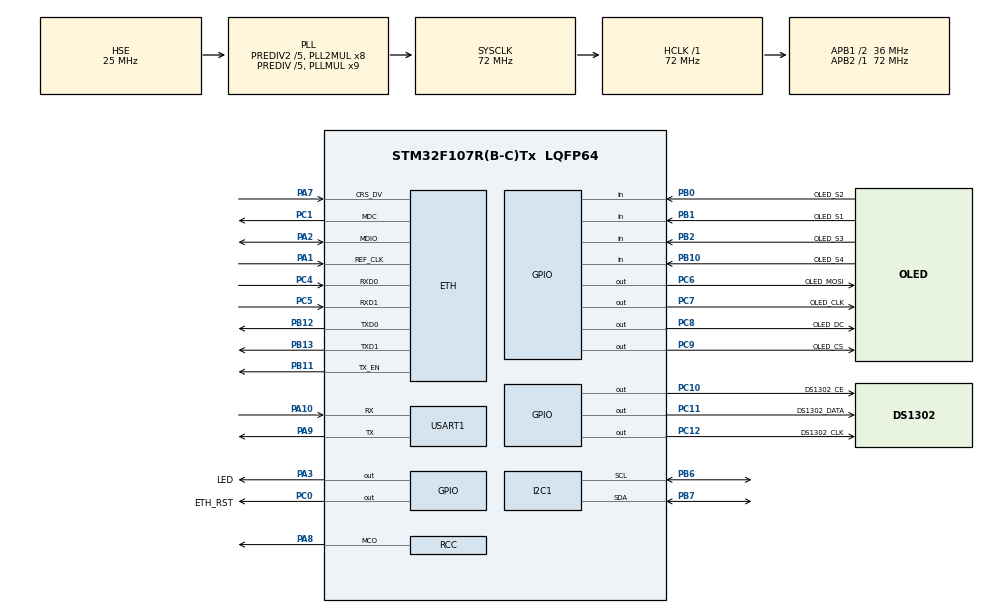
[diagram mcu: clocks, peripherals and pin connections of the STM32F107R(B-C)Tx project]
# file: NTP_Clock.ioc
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ETH.MediaInterface=ETH_MEDIA_INTERFACE_RMII
IWDG.Prescaler=IWDG_PRESCALER_256
IWDG.Reload=1000
LWIP.GATEWAY_ADDRESS=192.168.001.001
LWIP.IP_ADDRESS=192.168.001.103
LWIP.LWIP_DHCP=0
LWIP.NETMASK_ADDRESS=255.255.255.000
LWIP.TCP_QUEUE_OOSEQ=0
LWIP.Version=v2.0.3_Cube
Mcu.Family=STM32F1
Mcu.Name=STM32F107R(B-C)Tx
Mcu.Package=LQFP64
NVIC.PriorityGroup=NVIC_PRIORITYGROUP_4
PA1.Mode=RMII
PA1.Signal=ETH_REF_CLK
PA10.Mode=Asynchronous
PA10.Signal=USART1_RX
PA2.Mode=RMII
PA2.Signal=ETH_MDIO
PA3.GPIO_Label=LED
PA3.GPIO_PuPd=GPIO_PULLUP
PA3.GPIO_Speed=GPIO_SPEED_FREQ_HIGH
PA3.PinState=GPIO_PIN_SET
PA3.Signal=GPIO_Output
PA7.Mode=RMII
PA7.Signal=ETH_CRS_DV
PA8.Mode=Clock-out
PA8.Signal=RCC_MCO
PA9.Mode=Asynchronous
PA9.Signal=USART1_TX
PB0.GPIO_Label=OLED_S2
PB0.GPIO_PuPd=GPIO_PULLUP
PB0.Signal=GPIO_Input
PB1.GPIO_Label=OLED_S1
PB1.GPIO_PuPd=GPIO_PULLUP
PB1.Signal=GPIO_Input
PB10.GPIO_Label=OLED_S4
PB10.GPIO_PuPd=GPIO_PULLUP
PB10.Signal=GPIO_Input
PB11.Mode=RMII
PB11.Signal=ETH_TX_EN
PB12.Mode=RMII
PB12.Signal=ETH_TXD0
PB13.Mode=RMII
PB13.Signal=ETH_TXD1
PB2.GPIO_Label=OLED_S3
PB2.GPIO_PuPd=GPIO_PULLUP
PB2.Signal=GPIO_Input
PB6.Mode=I2C
PB6.Signal=I2C1_SCL
PB7.Mode=I2C
PB7.Signal=I2C1_SDA
PC0.GPIO_Label=ETH_RST
PC0.GPIO_ModeDefaultOutputPP=GPIO_MODE_OUTPUT_PP
PC0.GPIO_Speed=GPIO_SPEED_FREQ_LOW
PC0.PinState=GPIO_PIN_SET
PC0.Signal=GPIO_Output
PC1.Mode=RMII
PC1.Signal=ETH_MDC
PC10.GPIO_Label=DS1302_CE
PC10.GPIO_Speed=GPIO_SPEED_FREQ_HIGH
PC10.PinState=GPIO_PIN_RESET
PC10.Signal=GPIO_Output
PC11.GPIO_Label=DS1302_DATA
PC11.GPIO_Speed=GPIO_SPEED_FREQ_HIGH
PC11.Signal=GPIO_Output
PC12.GPIO_Label=DS1302_CLK
PC12.GPIO_Speed=GPIO_SPEED_FREQ_HIGH
PC12.Signal=GPIO_Output
PC4.Mode=RMII
PC4.Signal=ETH_RXD0
PC5.Mode=RMII
PC5.Signal=ETH_RXD1
PC6.GPIO_Label=OLED_MOSI
PC6.GPIO_PuPd=GPIO_PULLUP
PC6.GPIO_Speed=GPIO_SPEED_FREQ_HIGH
PC6.PinState=GPIO_PIN_SET
PC6.Signal=GPIO_Output
PC7.GPIO_Label=OLED_CLK
PC7.GPIO_PuPd=GPIO_PULLUP
PC7.GPIO_Speed=GPIO_SPEED_FREQ_HIGH
PC7.PinState=GPIO_PIN_SET
PC7.Signal=GPIO_Output
PC8.GPIO_Label=OLED_DC
PC8.GPIO_PuPd=GPIO_PULLUP
PC8.GPIO_Speed=GPIO_SPEED_FREQ_HIGH
PC8.PinState=GPIO_PIN_SET
PC8.Signal=GPIO_Output
PC9.GPIO_Label=OLED_CS
PC9.GPIO_PuPd=GPIO_PULLUP
PC9.GPIO_Speed=GPIO_SPEED_FREQ_HIGH
PC9.PinState=GPIO_PIN_SET
PC9.Signal=GPIO_Output
PD0-OSC_IN.Mode=HSE-External-Oscillator
PD0-OSC_IN.Signal=RCC_OSC_IN
PD1-OSC_OUT.Mode=HSE-External-Oscillator
PD1-OSC_OUT.Signal=RCC_OSC_OUT
ProjectManager.HeapSize=0x200
ProjectManager.StackSize=0x400
ProjectManager.TargetToolchain=MDK-ARM V5.32
RCC.AHBFreq_Value=72000000
RCC.APB1CLKDivider=RCC_HCLK_DIV2
RCC.APB1Freq_Value=36000000
RCC.APB1TimFreq_Value=72000000
RCC.APB2Freq_Value=72000000
RCC.APB2TimFreq_Value=72000000
RCC.HCLKFreq_Value=72000000
RCC.HSEDivPLL=RCC_HSE_PREDIV_DIV5
RCC.HSE_VALUE=25000000
RCC.PLLMUL=RCC_PLL_MUL9
RCC.PLLSourceVirtual=RCC_PLLSOURCE_HSE
RCC.Prediv1Source=RCC_PREDIV1_SOURCE_PLL2
RCC.Prediv2=RCC_HSE_PREDIV2_DIV5
RCC.RCC_MCOSource=RCC_MCO1SOURCE_HSE
RCC.SYSCLKFreq_VALUE=72000000
RCC.SYSCLKSource=RCC_SYSCLKSOURCE_PLLCLK
RCC.USBFreq_Value=48000000
USART1.VirtualMode=VM_ASYNC
VP_IWDG_VS_IWDG.Mode=IWDG_Activate
VP_LWIP_VS_Enabled.Mode=Enabled
VP_SYS_VS_ND.Mode=No_Debug
board=custom

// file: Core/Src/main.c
/* USER CODE BEGIN Header */
/**
 ******************************************************************************
 * @file           : main.c
 * @brief          : Main program body
 ******************************************************************************
 * @attention
 *
 * Copyright (c) 2023 STMicroelectronics.
 * All rights reserved.
 *
 * This software is licensed under terms that can be found in the LICENSE file
 * in the root directory of this software component.
 * If no LICENSE file comes with this software, it is provided AS-IS.
 *
 ******************************************************************************
 */
/* USER CODE END Header */
#include "main.h"
#include "i2c.h"
#include "iwdg.h"
#include "lwip.h"
#include "usart.h"
#include "gpio.h"

/* USER CODE BEGIN Includes */
#include <stdio.h>
#include "BSP_UDP.h"
#include "AT24CXX.h"
#include "BSP_74HC245.h"
#include "BSP_DS1302.h"
#include "clock.h"
#include "BSP_SHT2X.h"
#include "oled.h"
/* USER CODE END Includes */

void SystemClock_Config(void);

/* USER CODE BEGIN 0 */
uint8_t lastSecond;
uint8_t cnt_timing;
uint8_t cnt_seconds;

extern DS1302_Time_t TimeData;
typedef struct
{
    uint8_t year;   /* 年 */
    uint8_t month;  /* 月 */
    uint8_t day;    /* 日 */
    uint8_t week;   /* 星期 */
    uint8_t hour;   /* 时 */
    uint8_t minute; /* 分 */
    uint8_t second; /* 秒 */
    uint8_t temper;
    uint8_t humid;
} Screen_t;

Screen_t screen_data;
/* USER CODE END 0 */

int main(void)
{
    /* USER CODE BEGIN 1 */
    float temper = 0, humid = 0;
    uint8_t temper_t = 0, humid_t = 0;
    uint8_t sendbuf[200];
    /* USER CODE END 1 */

    /* MCU Configuration--------------------------------------------------------*/

    /* Reset of all peripherals, Initializes the Flash interface and the Systick. */
    HAL_Init();

    /* Configure the system clock */
    SystemClock_Config();

    /* Initialize all configured peripherals */
    MX_GPIO_Init();
    MX_USART1_UART_Init();
    MX_LWIP_Init();
    MX_IWDG_Init();
    MX_I2C1_Init();
    /* USER CODE BEGIN 2 */
    HAL_Delay(5000);      // 初始化完别直接进，延时，等lan8720初始化结束
    LWIP_Write_AT24CXX(); // 第一次上电使用
    LWIP_Read_AT24CXX();
    Net_Update(g_devrecource);
    udp_client_init();
    // DA1302_Init();          //第一次上电使用，向时钟写0

    OLED_DC_SET;
    OLED_Init();
    OLED_ShowNum(2, 0, 20, 2, 17);

    Clock_dev.timingcycle = 120;
    lastSecond = 0;
    cnt_timing = 2;
    cnt_seconds = 118;
    HAL_GPIO_WritePin(LED_GPIO_Port, LED_Pin, GPIO_PIN_RESET);

    SendNTPreq();

    /* USER CODE END 2 */

    /* Infinite loop */
    /* USER CODE BEGIN WHILE */
    while (1)
    {
        DS1302_Read_RealTime();
        if (TimeData.second != lastSecond) /* 1 second */
        {
            SHT2X_Read(0, &temper);
            SHT2X_Read(1, &humid);
            temper_t = (uint8_t)temper;
            humid_t = (uint8_t)humid;
            sprintf((char *)sendbuf, "Current RTC??%d-%d-%d ????%d %d:%d:%d ???%d ???%d", TimeData.year, TimeData.month, TimeData.day, TimeData.week, TimeData.hour, TimeData.minute, TimeData.second, temper_t, humid_t);
            // printf("%s\n", sendbuf);

            Config_Send(sendbuf);
            OLED_ShowNum(18, 0, TimeData.year, 2, 17);
            OLED_ShowString(34, 0, "-");
            OLED_ShowNum(46, 0, TimeData.month, 2, 17);
            OLED_ShowString(64, 0, "-");
            OLED_ShowNum(72, 0, TimeData.day, 2, 17);
            OLED_ShowNum(100, 0, TimeData.week, 2, 17);

            OLED_ShowNum(2, 2, TimeData.hour, 2, 17);
            OLED_ShowString(18, 2, ":");
            OLED_ShowNum(26, 2, TimeData.minute, 2, 17);
            OLED_ShowString(42, 2, ":");
            OLED_ShowNum(50, 2, TimeData.second, 2, 17);

            OLED_ShowNum(74, 2, temper_t, 2, 17);

            OLED_ShowNum(98, 2, humid_t, 2, 17);

            lastSecond = TimeData.second;
            cnt_seconds++;
        }

        if (!HAL_GPIO_ReadPin(OLED_S1_GPIO_Port, OLED_S1_Pin)) //??????????
        {
            HAL_Delay(20);
            while (!HAL_GPIO_ReadPin(OLED_S1_GPIO_Port, OLED_S1_Pin))
                ;
            HAL_Delay(20);
            AT24CXX_Write(T_Year, (uint8_t *)&TimeData.year, 1);
            AT24CXX_Write(T_Month, (uint8_t *)&TimeData.month, 1);
            AT24CXX_Write(T_Day, (uint8_t *)&TimeData.day, 1);
            AT24CXX_Write(T_Week, (uint8_t *)&TimeData.week, 1);
            AT24CXX_Write(T_Hour, (uint8_t *)&TimeData.hour, 1);
            AT24CXX_Write(T_Minu, (uint8_t *)&TimeData.minute, 1);
            AT24CXX_Write(T_Secon, (uint8_t *)&TimeData.second, 1);
            AT24CXX_Write(T_Temper, (uint8_t *)&temper_t, 1);
            AT24CXX_Write(T_Humid, (uint8_t *)&humid_t, 1);
        }

        if (!HAL_GPIO_ReadPin(OLED_S2_GPIO_Port, OLED_S2_Pin)) //???????????
        {
            HAL_Delay(20);
            while (!HAL_GPIO_ReadPin(OLED_S2_GPIO_Port, OLED_S2_Pin))
                ;
            HAL_Delay(20);
            AT24CXX_Read(T_Year, (uint8_t *)&screen_data.year, 1);
            AT24CXX_Read(T_Month, (uint8_t *)&screen_data.month, 1);
            AT24CXX_Read(T_Day, (uint8_t *)&screen_data.day, 1);
            AT24CXX_Read(T_Week, (uint8_t *)&screen_data.week, 1);
            AT24CXX_Read(T_Hour, (uint8_t *)&screen_data.hour, 1);
            AT24CXX_Read(T_Minu, (uint8_t *)&screen_data.minute, 1);
            AT24CXX_Read(T_Secon, (uint8_t *)&screen_data.second, 1);
            AT24CXX_Read(T_Temper, (uint8_t *)&screen_data.temper, 1);
            AT24CXX_Read(T_Humid, (uint8_t *)&screen_data.humid, 1);

            sprintf((char *)sendbuf, "Last RTC=%d-%d-%d ????%d %d:%d:%d ???%d ???%d", screen_data.year, screen_data.month, screen_data.day, screen_data.week, screen_data.hour, screen_data.minute, screen_data.second, screen_data.temper, screen_data.humid);
            // printf("%s\n", sendbuf);
            Config_Send(sendbuf);

            OLED_ShowNum(2, 4, 20, 2, 17);
            OLED_ShowNum(18, 4, screen_data.year, 2, 17);
            OLED_ShowString(34, 4, "-");
            OLED_ShowNum(46, 4, screen_data.month, 2, 17);
            OLED_ShowString(64, 4, "-");
            OLED_ShowNum(72, 4, screen_data.day, 2, 17);
            OLED_ShowNum(100, 4, screen_data.week, 2, 17);

            OLED_ShowNum(2, 6, screen_data.hour, 2, 17);
            OLED_ShowString(18, 6, ":");
            OLED_ShowNum(26, 6, screen_data.minute, 2, 17);
            OLED_ShowString(42, 6, ":");
            OLED_ShowNum(50, 6, screen_data.second, 2, 17);

            OLED_ShowNum(74, 6, screen_data.temper, 2, 17);

            OLED_ShowNum(98, 6, screen_data.humid, 2, 17);
        }

        if (!HAL_GPIO_ReadPin(OLED_S3_GPIO_Port, OLED_S3_Pin)) //??????????
        {
            HAL_Delay(20);
            while (!HAL_GPIO_ReadPin(OLED_S3_GPIO_Port, OLED_S3_Pin))
                ;
            HAL_Delay(20);
            SendNTPreq();
            // printf("?????\n");
        }

        if (cnt_seconds >= Clock_dev.timingcycle) /* time to timing */
        {
            cnt_seconds = 0;
            cnt_timing++;
            SendNTPreq();
        }

        if (cnt_timing > 1)
        {
            HAL_GPIO_WritePin(LED_GPIO_Port, LED_Pin, GPIO_PIN_RESET);
        }

        Clock_dev.clock_status = Clock_GetStatus();
        if (Clock_dev.clock_status == Clock_Run)
        {
            Clock_RunOneSecond();
        }
        /* USER CODE END WHILE */

        /* USER CODE BEGIN 3 */
        MX_LWIP_Process();
        HAL_IWDG_Refresh(&hiwdg); /* IWDG Refresh */
    }
    /* USER CODE END 3 */
}

void SystemClock_Config(void)
{
    RCC_OscInitTypeDef RCC_OscInitStruct = {0};
    RCC_ClkInitTypeDef RCC_ClkInitStruct = {0};

    /** Initializes the RCC Oscillators according to the specified parameters
     * in the RCC_OscInitTypeDef structure.
     */
    RCC_OscInitStruct.OscillatorType = RCC_OSCILLATORTYPE_LSI | RCC_OSCILLATORTYPE_HSE;
    RCC_OscInitStruct.HSEState = RCC_HSE_ON;
    RCC_OscInitStruct.HSEPredivValue = RCC_HSE_PREDIV_DIV5;
    RCC_OscInitStruct.HSIState = RCC_HSI_ON;
    RCC_OscInitStruct.LSIState = RCC_LSI_ON;
    RCC_OscInitStruct.Prediv1Source = RCC_PREDIV1_SOURCE_PLL2;
    RCC_OscInitStruct.PLL.PLLState = RCC_PLL_ON;
    RCC_OscInitStruct.PLL.PLLSource = RCC_PLLSOURCE_HSE;
    RCC_OscInitStruct.PLL.PLLMUL = RCC_PLL_MUL9;
    RCC_OscInitStruct.PLL2.PLL2State = RCC_PLL2_ON;
    RCC_OscInitStruct.PLL2.PLL2MUL = RCC_PLL2_MUL8;
    RCC_OscInitStruct.PLL2.HSEPrediv2Value = RCC_HSE_PREDIV2_DIV5;
    if (HAL_RCC_OscConfig(&RCC_OscInitStruct) != HAL_OK)
    {
        Error_Handler();
    }

    /** Initializes the CPU, AHB and APB buses clocks
     */
    RCC_ClkInitStruct.ClockType = RCC_CLOCKTYPE_HCLK | RCC_CLOCKTYPE_SYSCLK | RCC_CLOCKTYPE_PCLK1 | RCC_CLOCKTYPE_PCLK2;
    RCC_ClkInitStruct.SYSCLKSource = RCC_SYSCLKSOURCE_PLLCLK;
    RCC_ClkInitStruct.AHBCLKDivider = RCC_SYSCLK_DIV1;
    RCC_ClkInitStruct.APB1CLKDivider = RCC_HCLK_DIV2;
    RCC_ClkInitStruct.APB2CLKDivider = RCC_HCLK_DIV1;

    if (HAL_RCC_ClockConfig(&RCC_ClkInitStruct, FLASH_LATENCY_2) != HAL_OK)
    {
        Error_Handler();
    }
    HAL_RCC_MCOConfig(RCC_MCO, RCC_MCO1SOURCE_HSE, RCC_MCODIV_1);

    /** Configure the Systick interrupt time
     */
    __HAL_RCC_PLLI2S_ENABLE();
}

void Error_Handler(void)
{
    __disable_irq();
    while (1)
    {
    }
}
